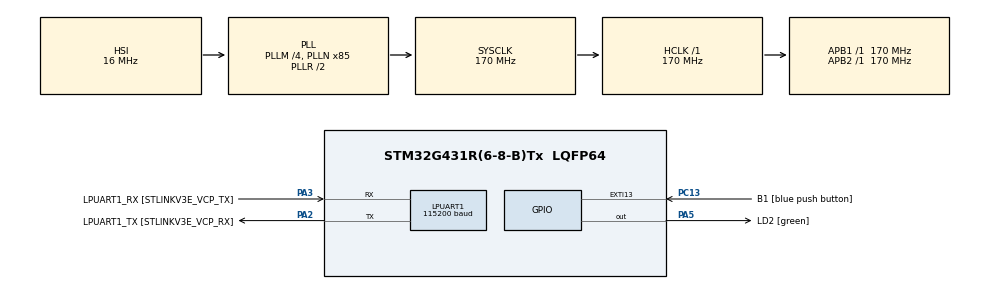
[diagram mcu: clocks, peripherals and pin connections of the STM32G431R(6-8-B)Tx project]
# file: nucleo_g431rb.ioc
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LPUART1.BaudRate=115200
LPUART1.WordLength=UART_WORDLENGTH_8B
Mcu.Family=STM32G4
Mcu.Name=STM32G431R(6-8-B)Tx
Mcu.Package=LQFP64
NVIC.PriorityGroup=NVIC_PRIORITYGROUP_4
PA13.GPIO_Label=T_SWDIO
PA13.Mode=Serial_Wire
PA13.Signal=SYS_JTMS-SWDIO
PA14.GPIO_Label=T_SWCLK
PA14.Mode=Serial_Wire
PA14.Signal=SYS_JTCK-SWCLK
PA2.GPIO_Label=LPUART1_TX [STLINKV3E_VCP_RX]
PA2.Mode=Asynchronous
PA2.Signal=LPUART1_TX
PA3.GPIO_Label=LPUART1_RX [STLINKV3E_VCP_TX]
PA3.Mode=Asynchronous
PA3.Signal=LPUART1_RX
PA5.GPIO_Label=LD2 [green]
PA5.Signal=GPIO_Output
PB3.GPIO_Label=T_SWO
PB3.Signal=SYS_JTDO-SWO
PC13.GPIO_Label=B1 [blue push button]
PC13.Signal=GPXTI13
PC14-OSC32_IN.Mode=LSE-External-Oscillator
PC14-OSC32_IN.Signal=RCC_OSC32_IN
PC15-OSC32_OUT.Mode=LSE-External-Oscillator
PC15-OSC32_OUT.Signal=RCC_OSC32_OUT
PF0-OSC_IN.Mode=HSE-External-Oscillator
PF0-OSC_IN.Signal=RCC_OSC_IN
PF1-OSC_OUT.Mode=HSE-External-Oscillator
PF1-OSC_OUT.Signal=RCC_OSC_OUT
ProjectManager.HeapSize=0x200
ProjectManager.StackSize=0x400
ProjectManager.TargetToolchain=STM32CubeIDE
RCC.ADC12Freq_Value=170000000
RCC.AHBFreq_Value=170000000
RCC.APB1Freq_Value=170000000
RCC.APB1TimFreq_Value=170000000
RCC.APB2Freq_Value=170000000
RCC.APB2TimFreq_Value=170000000
RCC.CortexFreq_Value=170000000
RCC.EXTERNAL_CLOCK_VALUE=12288000
RCC.HCLKFreq_Value=170000000
RCC.HSE_VALUE=24000000
RCC.HSI48_VALUE=48000000
RCC.HSI_VALUE=16000000
RCC.PLLM=RCC_PLLM_DIV4
RCC.PLLN=85
RCC.RTCClockSelection=RCC_RTCCLKSOURCE_LSE
RCC.SYSCLKFreq_VALUE=170000000
RCC.SYSCLKSource=RCC_SYSCLKSOURCE_PLLCLK
RCC.USBFreq_Value=170000000
RCC.VCOOutputFreq_Value=340000000
VP_SYS_VS_DBSignals.Mode=DisableDeadBatterySignals
board=NUCLEO-G431RB

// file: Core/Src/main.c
/* USER CODE BEGIN Header */
/**
 ******************************************************************************
 * @file           : main.c
 * @brief          : Main program body
 ******************************************************************************
 * @attention
 *
 * Copyright (c) 2022 STMicroelectronics.
 * All rights reserved.
 *
 * This software is licensed under terms that can be found in the LICENSE file
 * in the root directory of this software component.
 * If no LICENSE file comes with this software, it is provided AS-IS.
 *
 ******************************************************************************
 */
/* USER CODE END Header */
#include "main.h"

/* USER CODE BEGIN Includes */
#include <arm_math.h>
/* USER CODE END Includes */

/* USER CODE BEGIN PM */
#define MAXTAPS 1024
#define MAXBLOCK 1024
#define MAXSAMPLE (MAXBLOCK*2)
/* USER CODE END PM */

UART_HandleTypeDef hlpuart1;

/* USER CODE BEGIN PV */

float32_t coeff_f32[MAXTAPS];
float32_t state_f32[MAXTAPS + MAXBLOCK];
float32_t input_f32[MAXSAMPLE];
float32_t output_f32[MAXSAMPLE];

/* USER CODE END PV */

void SystemClock_Config(void);
static void MX_GPIO_Init(void);
static void MX_LPUART1_UART_Init(void);

/* USER CODE BEGIN 0 */

void InitCycleCounter() {
#if defined(__CORE_CM0_H_GENERIC) || defined(__CORE_CM0PLUS_H_GENERIC)
// The Cortex-M0 and Cortex-M0+ core don't have CYCCNT register.
// Thus, we have to provide alternative function.
// Application developer can override this function by defining murasaki::InitCycleCounter().
// This function is discarded at link phase, if developer has his/her own InitCycleCounter().
#else
	DWT->CTRL |= DWT_CTRL_CYCCNTENA_Msk;
	DWT->CYCCNT = 0;
#endif
}

unsigned int GetCycleCounter() {
#if defined(__CORE_CM0_H_GENERIC) || defined (__CORE_CM0PLUS_H_GENERIC)
// The Cortex-M0 and Cortex-M0+ core don't have CYCCNT register.
// Thus, we have to provide alternative function.

// Application developer can override this function by defining murasaki::GetCycleCounter().
// This function is discarded at link phase, if developer has his/her own GetCycleCounter().

// By default, we return 0.
    return 0;

#else
	return DWT->CYCCNT;
#endif

}

// STDOUT hook. Enable printf.
int _write(int file, char *ptr, int len) {
#if 1
	// To UART
	HAL_UART_Transmit(&hlpuart1, (uint8_t*) ptr, len, 10);
	return len;
#else
  // To SWV Data console
    int DataIdx;
    for(DataIdx=0; DataIdx<len; DataIdx++)
    {
      ITM_SendChar(*ptr++);
    }
    return len;
#endif
}

void measure_fir_q15() {

	arm_fir_instance_q15 fir_q15;
	int taps;
	int blocks;

	printf("*** arm_fir_fast_q15() ****\n");

	blocks = 128;
	for (blocks = 32; blocks < MAXBLOCK + 1; blocks <<= 1) {
		taps = 32;
		unsigned int cycles;

		arm_fir_init_q15(&fir_q15, taps, (void*) coeff_f32, (void*) state_f32,
				blocks);
		cycles = GetCycleCounter();

		arm_fir_fast_q15(&fir_q15, (void*) input_f32, (void*) output_f32,
				blocks);

		cycles = GetCycleCounter() - cycles;
		printf("%d, %d, %d \n", blocks, taps, cycles);
	}

	blocks = 1024;
	for (taps = 32; taps < blocks / 2 + 1; taps <<= 1) {
		unsigned int cycles;

		arm_fir_init_q15(&fir_q15, taps, (void*) coeff_f32, (void*) state_f32,
				blocks);
		cycles = GetCycleCounter();

		arm_fir_fast_q15(&fir_q15, (void*) input_f32, (void*) output_f32,
				blocks);

		cycles = GetCycleCounter() - cycles;
		printf("%d, %d, %d \n", blocks, taps, cycles);
	}
}

void measure_fir_f32() {

	arm_fir_instance_f32 fir_f32;
	int taps;
	int blocks;

	printf("*** arm_fir_fast_f32() ****\n");

	blocks = 128;
	for (blocks = 32; blocks < MAXBLOCK + 1; blocks <<= 1) {
		taps = 32;
		unsigned int cycles;

		arm_fir_init_f32(&fir_f32, taps, coeff_f32, state_f32, blocks);
		cycles = GetCycleCounter();

		arm_fir_f32(&fir_f32, input_f32, output_f32, blocks);

		cycles = GetCycleCounter() - cycles;
		printf("%d, %d, %d \n", blocks, taps, cycles);
	}

	blocks = 1024;
	for (taps = 32; taps < blocks / 2 + 1; taps <<= 1) {
		unsigned int cycles;

		arm_fir_init_f32(&fir_f32, taps, coeff_f32, state_f32, blocks);
		cycles = GetCycleCounter();

		arm_fir_f32(&fir_f32, input_f32, output_f32, blocks);

		cycles = GetCycleCounter() - cycles;
		printf("%d, %d, %d \n", blocks, taps, cycles);
	}
}

void measure_cfft_q15(int bitReversal) {

	arm_cfft_radix2_instance_q15 fft_q15;
	int points;

	printf("*** arm_cfft_radix2_q15() ****\n");

	for (points = 32; points < 1024 + 1; points <<= 1) {
		unsigned int cycles;

		arm_cfft_radix2_init_q15(&fft_q15, points, 0, bitReversal);
		cycles = GetCycleCounter();

		arm_cfft_radix2_q15(&fft_q15, (void*) input_f32);

		cycles = GetCycleCounter() - cycles;
		printf("%d, %d, %d \n", points, bitReversal, cycles);
	}

}

void measure_cfft_f32(int bitReversal) {

	arm_cfft_radix2_instance_f32 fft_f32;
	int points;

	printf("*** arm_cfft_radix2_f32() ****\n");

	for (points = 32; points < 1024 + 1; points <<= 1) {
		unsigned int cycles;

		arm_cfft_radix2_init_f32(&fft_f32, points, 0, bitReversal);
		cycles = GetCycleCounter();

		arm_cfft_radix2_f32(&fft_f32, input_f32);

		cycles = GetCycleCounter() - cycles;
		printf("%d, %d, %d \n", points, bitReversal, cycles);
	}

}

/* USER CODE END 0 */

int main(void) {

	/* MCU Configuration--------------------------------------------------------*/

	/* Reset of all peripherals, Initializes the Flash interface and the Systick. */
	HAL_Init();

	/* Configure the system clock */
	SystemClock_Config();

	/* Initialize all configured peripherals */
	MX_GPIO_Init();
	MX_LPUART1_UART_Init();
	/* USER CODE BEGIN 2 */
	InitCycleCounter();

	printf("\n CORTEX-M4F \n");

	measure_fir_q15();
	measure_fir_f32();
	measure_cfft_q15(0);
	measure_cfft_q15(1);
	measure_cfft_f32(0);
	measure_cfft_f32(1);

	/* USER CODE END 2 */

	/* Infinite loop */
	while (1) {

	}
}

void SystemClock_Config(void) {
	RCC_OscInitTypeDef RCC_OscInitStruct = { 0 };
	RCC_ClkInitTypeDef RCC_ClkInitStruct = { 0 };

	/** Configure the main internal regulator output voltage
	 */
	HAL_PWREx_ControlVoltageScaling(PWR_REGULATOR_VOLTAGE_SCALE1_BOOST);

	/** Initializes the RCC Oscillators according to the specified parameters
	 * in the RCC_OscInitTypeDef structure.
	 */
	RCC_OscInitStruct.OscillatorType = RCC_OSCILLATORTYPE_HSI;
	RCC_OscInitStruct.HSIState = RCC_HSI_ON;
	RCC_OscInitStruct.HSICalibrationValue = RCC_HSICALIBRATION_DEFAULT;
	RCC_OscInitStruct.PLL.PLLState = RCC_PLL_ON;
	RCC_OscInitStruct.PLL.PLLSource = RCC_PLLSOURCE_HSI;
	RCC_OscInitStruct.PLL.PLLM = RCC_PLLM_DIV4;
	RCC_OscInitStruct.PLL.PLLN = 85;
	RCC_OscInitStruct.PLL.PLLP = RCC_PLLP_DIV2;
	RCC_OscInitStruct.PLL.PLLQ = RCC_PLLQ_DIV2;
	RCC_OscInitStruct.PLL.PLLR = RCC_PLLR_DIV2;
	if (HAL_RCC_OscConfig(&RCC_OscInitStruct) != HAL_OK) {
		Error_Handler();
	}

	/** Initializes the CPU, AHB and APB buses clocks
	 */
	RCC_ClkInitStruct.ClockType = RCC_CLOCKTYPE_HCLK | RCC_CLOCKTYPE_SYSCLK
			| RCC_CLOCKTYPE_PCLK1 | RCC_CLOCKTYPE_PCLK2;
	RCC_ClkInitStruct.SYSCLKSource = RCC_SYSCLKSOURCE_PLLCLK;
	RCC_ClkInitStruct.AHBCLKDivider = RCC_SYSCLK_DIV1;
	RCC_ClkInitStruct.APB1CLKDivider = RCC_HCLK_DIV1;
	RCC_ClkInitStruct.APB2CLKDivider = RCC_HCLK_DIV1;

	if (HAL_RCC_ClockConfig(&RCC_ClkInitStruct, FLASH_LATENCY_4) != HAL_OK) {
		Error_Handler();
	}
}

static void MX_LPUART1_UART_Init(void) {

	hlpuart1.Instance = LPUART1;
	hlpuart1.Init.BaudRate = 115200;
	hlpuart1.Init.WordLength = UART_WORDLENGTH_8B;
	hlpuart1.Init.StopBits = UART_STOPBITS_1;
	hlpuart1.Init.Parity = UART_PARITY_NONE;
	hlpuart1.Init.Mode = UART_MODE_TX_RX;
	hlpuart1.Init.HwFlowCtl = UART_HWCONTROL_NONE;
	hlpuart1.Init.OneBitSampling = UART_ONE_BIT_SAMPLE_DISABLE;
	hlpuart1.Init.ClockPrescaler = UART_PRESCALER_DIV1;
	hlpuart1.AdvancedInit.AdvFeatureInit = UART_ADVFEATURE_NO_INIT;
	if (HAL_UART_Init(&hlpuart1) != HAL_OK) {
		Error_Handler();
	}
	if (HAL_UARTEx_SetTxFifoThreshold(&hlpuart1, UART_TXFIFO_THRESHOLD_1_8)
			!= HAL_OK) {
		Error_Handler();
	}
	if (HAL_UARTEx_SetRxFifoThreshold(&hlpuart1, UART_RXFIFO_THRESHOLD_1_8)
			!= HAL_OK) {
		Error_Handler();
	}
	if (HAL_UARTEx_DisableFifoMode(&hlpuart1) != HAL_OK) {
		Error_Handler();
	}

}

static void MX_GPIO_Init(void) {
	GPIO_InitTypeDef GPIO_InitStruct = { 0 };

	/* GPIO Ports Clock Enable */
	__HAL_RCC_GPIOC_CLK_ENABLE();
	__HAL_RCC_GPIOF_CLK_ENABLE();
	__HAL_RCC_GPIOA_CLK_ENABLE();
	__HAL_RCC_GPIOB_CLK_ENABLE();

	/*Configure GPIO pin Output Level */
	HAL_GPIO_WritePin(LD2_GPIO_Port, LD2_Pin, GPIO_PIN_RESET);

	/*Configure GPIO pin : B1_Pin */
	GPIO_InitStruct.Pin = B1_Pin;
	GPIO_InitStruct.Mode = GPIO_MODE_IT_RISING;
	GPIO_InitStruct.Pull = GPIO_NOPULL;
	HAL_GPIO_Init(B1_GPIO_Port, &GPIO_InitStruct);

	/*Configure GPIO pin : LD2_Pin */
	GPIO_InitStruct.Pin = LD2_Pin;
	GPIO_InitStruct.Mode = GPIO_MODE_OUTPUT_PP;
	GPIO_InitStruct.Pull = GPIO_NOPULL;
	GPIO_InitStruct.Speed = GPIO_SPEED_FREQ_LOW;
	HAL_GPIO_Init(LD2_GPIO_Port, &GPIO_InitStruct);

}

void Error_Handler(void) {
	__disable_irq();
	while (1) {
	}
}
